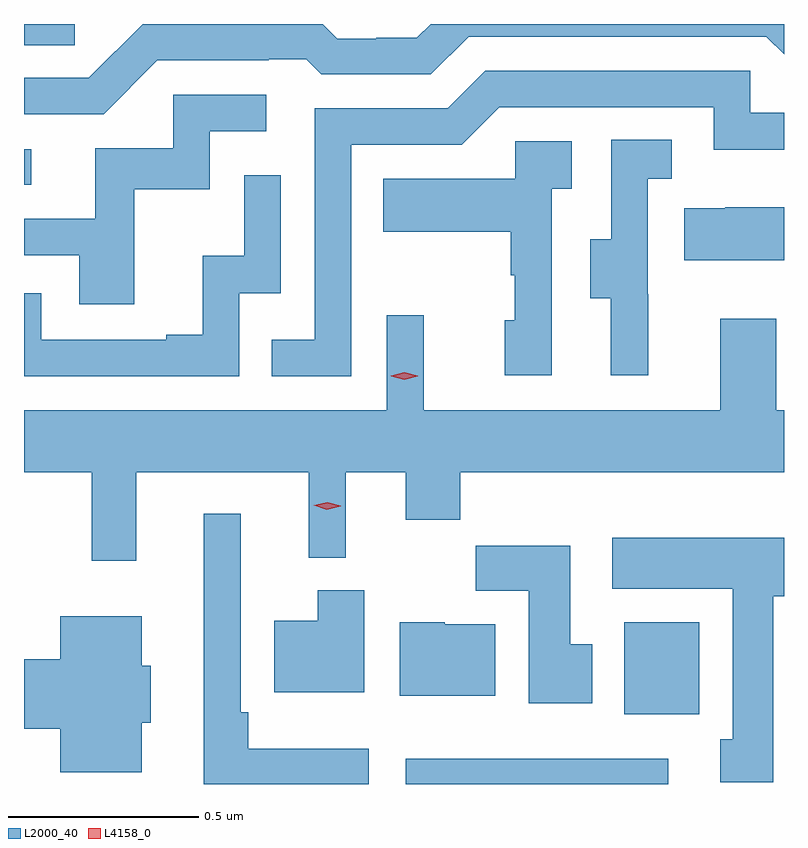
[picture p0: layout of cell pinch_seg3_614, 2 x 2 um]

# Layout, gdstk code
import gdstk
lib = gdstk.Library(unit=1e-6, precision=1e-09)
def R(c, l, rs):  # rectangles x0, y0, x1, y1
    for r in rs: c.add(gdstk.rectangle(r[:2], r[2:], *l))
def P(c, l, *ps):  # polygons
    for p in ps: c.add(gdstk.Polygon(p, *l))
L2000_40 = (2000, 40)
L4158_0 = (4158, 0)

pinch_seg3_614 = lib.new_cell('pinch_seg3_614')
R(pinch_seg3_614, L2000_40, [(1025.405,704.092,1026.097,704.158), (1025.981,704.276,1026.178,704.518), (1024.401,705.669,1024.42,705.762), (1024.401,706.036,1024.535,706.092)])
P(pinch_seg3_614, L2000_40, [(1024.752,705.996),(1025.045,705.996),(1025.045,705.999),(1025.144,705.999),(1025.183,705.96),(1025.472,705.96),(1025.571,706.059),(1026.354,706.059),(1026.401,706.012),(1026.401,706.092),(1025.471,706.092),(1025.435,706.056),(1025.328,706.056),(1025.328,706.053),(1025.225,706.053),(1025.187,706.092),(1024.713,706.092),(1024.572,705.951),(1024.401,705.951),(1024.401,705.855),(1024.611,705.855)],
  [(1025.262,705.774),(1025.553,705.774),(1025.652,705.873),(1026.216,705.873),(1026.216,705.761),(1026.401,705.761),(1026.401,705.858),(1026.312,705.858),(1026.312,705.969),(1025.615,705.969),(1025.516,705.87),(1025.166,705.87),(1025.166,705.261),(1025.053,705.261),(1025.053,705.165),(1025.262,705.165)],
  [(1024.691,705.657),(1024.89,705.657),(1024.89,705.81),(1025.038,705.81),(1025.038,705.906),(1024.794,705.906),(1024.794,705.765),(1024.589,705.765),(1024.589,705.579),(1024.401,705.579),(1024.401,705.483),(1024.547,705.483),(1024.547,705.354),(1024.691,705.354)],
  [(1026.044,705.381),(1026.042,705.381),(1026.042,705.685),(1026.106,705.685),(1026.106,705.788),(1025.946,705.788),(1025.946,705.525),(1025.891,705.525),(1025.891,705.37),(1025.945,705.37),(1025.945,705.168),(1026.044,705.168)],
  [(1025.79,705.659),(1025.842,705.659),(1025.842,705.783),(1025.694,705.783),(1025.694,705.685),(1025.347,705.685),(1025.347,705.545),(1025.682,705.545),(1025.682,705.431),(1025.692,705.431),(1025.692,705.312),(1025.666,705.312),(1025.666,705.168),(1025.79,705.168)],
  [(1024.968,705.384),(1025.076,705.384),(1025.076,705.694),(1024.98,705.694),(1024.98,705.482),(1024.871,705.482),(1024.871,705.274),(1024.775,705.274),(1024.775,705.261),(1024.446,705.261),(1024.446,705.384),(1024.401,705.384),(1024.401,705.165),(1024.968,705.165)],
  [(1026.401,705.61),(1026.247,705.61),(1026.247,705.607),(1026.139,705.607),(1026.139,705.47),(1026.401,705.47)],
  [(1024.697,704.912),(1025.15,704.912),(1025.15,704.687),(1025.248,704.687),(1025.248,704.912),(1025.405,704.912),(1025.405,704.788),(1025.549,704.788),(1025.549,704.912),(1026.401,704.912),(1026.401,705.076),(1026.381,705.076),(1026.381,705.316),(1026.233,705.316),(1026.233,705.076),(1025.453,705.076),(1025.453,705.325),(1025.355,705.325),(1025.355,705.076),(1024.401,705.076),(1024.401,704.912),(1024.579,704.912),(1024.579,704.679),(1024.697,704.679)],
  [(1025.308,704.185),(1024.991,704.185),(1024.991,704.281),(1024.971,704.281),(1024.971,704.803),(1024.874,704.803),(1024.874,704.092),(1025.308,704.092)],
  [(1026.373,704.586),(1026.401,704.586),(1026.401,704.74),(1025.949,704.74),(1025.949,704.606),(1026.266,704.606),(1026.266,704.21),(1026.233,704.21),(1026.233,704.097),(1026.373,704.097)],
  [(1025.896,704.46),(1025.839,704.46),(1025.839,704.719),(1025.59,704.719),(1025.59,704.6),(1025.729,704.6),(1025.729,704.304),(1025.896,704.304)],
  [(1025.296,704.602),(1025.174,704.602),(1025.174,704.521),(1025.06,704.521),(1025.06,704.333),(1025.296,704.333)],
  [(1024.711,704.253),(1024.735,704.253),(1024.735,704.403),(1024.711,704.403),(1024.711,704.533),(1024.496,704.533),(1024.496,704.42),(1024.401,704.42),(1024.401,704.237),(1024.496,704.237),(1024.496,704.123),(1024.711,704.123)],
  [(1025.641,704.512),(1025.508,704.512),(1025.508,704.518),(1025.39,704.518),(1025.39,704.324),(1025.641,704.324)])
P(pinch_seg3_614, L4158_0, [(1025.402,705.156),(1025.367,705.165),(1025.366,705.166),(1025.367,705.166),(1025.402,705.176),(1025.437,705.166),(1025.437,705.166),(1025.437,705.165)],
  [(1025.198,704.814),(1025.163,704.825),(1025.162,704.825),(1025.163,704.826),(1025.199,704.834),(1025.234,704.824),(1025.235,704.824),(1025.234,704.823)])

lib.write_gds('pinch_seg3_614.gds')
